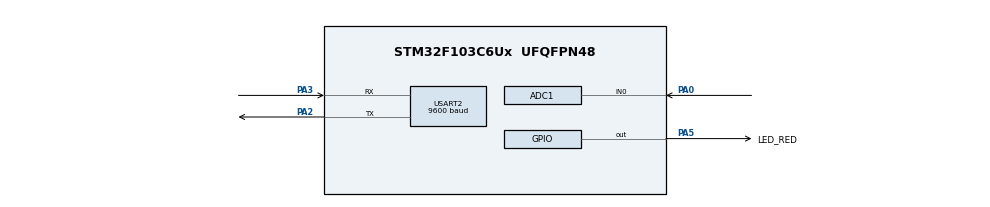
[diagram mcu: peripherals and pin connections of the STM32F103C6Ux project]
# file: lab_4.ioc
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ADC1.Channel-1\#ChannelRegularConversion=ADC_CHANNEL_0
ADC1.ContinuousConvMode=ENABLE
ADC1.NbrOfConversionFlag=1
ADC1.Rank-1\#ChannelRegularConversion=1
ADC1.SamplingTime-1\#ChannelRegularConversion=ADC_SAMPLETIME_1CYCLE_5
ADC1.master=1
Mcu.Family=STM32F1
Mcu.Name=STM32F103C6Ux
Mcu.Package=UFQFPN48
NVIC.PriorityGroup=NVIC_PRIORITYGROUP_4
NVIC.TIM2_IRQn=true\:0\:0\:false\:false\:true\:true\:true
NVIC.USART2_IRQn=true\:0\:0\:false\:false\:true\:true\:true
PA0-WKUP.Signal=ADCx_IN0
PA2.Mode=Asynchronous
PA2.Signal=USART2_TX
PA3.Mode=Asynchronous
PA3.Signal=USART2_RX
PA5.GPIO_Label=LED_RED
PA5.Signal=GPIO_Output
ProjectManager.HeapSize=0x200
ProjectManager.StackSize=0x400
ProjectManager.TargetToolchain=STM32CubeIDE
RCC.APB1Freq_Value=8000000
RCC.APB2Freq_Value=8000000
SH.ADCx_IN0.0=ADC1_IN0,IN0
TIM2.Period=9
TIM2.Prescaler=7999
USART2.BaudRate=9600
USART2.VirtualMode=VM_ASYNC
VP_SYS_VS_ND.Mode=No_Debug
VP_TIM2_VS_ClockSourceINT.Mode=Internal
board=custom

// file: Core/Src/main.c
/* USER CODE BEGIN Header */
/**
  ******************************************************************************
  * @file           : main.c
  * @brief          : Main program body
  ******************************************************************************
  * @attention
  *
  * <h2><center>&copy; Copyright (c) 2023 STMicroelectronics.
  * All rights reserved.</center></h2>
  *
  * This software component is licensed by ST under BSD 3-Clause license,
  * the "License"; You may not use this file except in compliance with the
  * License. You may obtain a copy of the License at:
  *                        opensource.org/licenses/BSD-3-Clause
  *
  ******************************************************************************
  */
/* USER CODE END Header */
#include "main.h"

/* USER CODE BEGIN Includes */
#include "timer.h"
#include "string.h"
#include "stdio.h"
/* USER CODE END Includes */

/* USER CODE BEGIN PD */
#define MAX_BUFFER_SIZE 30
#define IDLE 0
#define RECEIVING 1
#define SENDING 2
/* USER CODE END PD */

ADC_HandleTypeDef hadc1;

TIM_HandleTypeDef htim2;

UART_HandleTypeDef huart2;

void SystemClock_Config(void);
static void MX_GPIO_Init(void);
static void MX_USART2_UART_Init(void);
static void MX_ADC1_Init(void);
static void MX_TIM2_Init(void);

/* USER CODE BEGIN 0 */
uint8_t temp = 0;
uint8_t buffer[MAX_BUFFER_SIZE];
uint8_t index_buffer = 0;
uint8_t buffer_flag = 0;

void HAL_UART_RxCpltCallback(UART_HandleTypeDef *huart) {
	if (huart->Instance == USART2) {
//		HAL_UART_Transmit(&huart2, &temp, 1, 50);
		buffer[index_buffer++] = temp;
		if (index_buffer == 30) index_buffer = 0;
		buffer_flag = 1;
		HAL_UART_Receive_IT(&huart2, &temp, 1);
	}
}

int cmd_parser_state = IDLE;
int cmd_flag = 0;
char cmd_data[30];

void clear_buffer() {
	memset(buffer, 0, MAX_BUFFER_SIZE);
	index_buffer = 0;
}

void clear_cmd_data() {
	memset(cmd_data, 0, MAX_BUFFER_SIZE);
	cmd_flag = 0;
}

void cmd_parser_fsm() {
	switch (cmd_parser_state) {
		case IDLE:
			if (temp == '!') {
				clear_cmd_data();
				cmd_parser_state = RECEIVING;
			}
			clear_buffer();
			break;
		case RECEIVING:
			if (temp == '#') {
				memcpy(cmd_data, buffer, sizeof(buffer));
				cmd_flag = 1;
				HAL_UART_Transmit(&huart2, "\n\r", 2, 50);
				clear_buffer();
				cmd_parser_state = IDLE;
			}
			break;
	}
}

uint32_t ADC_value = 0;
int uart_communication_fsm_state = IDLE;
void uart_communication_fsm() {
	switch (uart_communication_fsm_state) {
		case IDLE:
			if ((cmd_flag == 1) && (strcmp(cmd_data, "RST#") == 0)) {
				HAL_UART_Transmit(&huart2, "!ADC=", 5, 50);
				HAL_ADC_Start(&hadc1);
				ADC_value = HAL_ADC_GetValue(&hadc1);
				char* str;
				HAL_UART_Transmit(&huart2, (void*) str, sprintf(str, "%d#\n\r", ADC_value), 50);
				setTimer1(3000);
				uart_communication_fsm_state = SENDING;
			}
			cmd_flag = 0;
			break;
		case SENDING:
			if ((cmd_flag == 1) && (strcmp(cmd_data, "OK#") == 0)) {
				uart_communication_fsm_state = IDLE;
			}
			cmd_flag = 0;
			if (timer1_flag == 1) {
				HAL_UART_Transmit(&huart2, "!ADC=", 5, 50);
				HAL_ADC_Start(&hadc1);
				ADC_value = HAL_ADC_GetValue(&hadc1);
				char* str;
				HAL_UART_Transmit(&huart2, (void*) str, sprintf(str, "%d#\n\r", ADC_value), 50);
				setTimer1(3000);
			}
			break;
	}
}
/* USER CODE END 0 */

int main(void)
{

  /* MCU Configuration--------------------------------------------------------*/

  /* Reset of all peripherals, Initializes the Flash interface and the Systick. */
  HAL_Init();

  /* Configure the system clock */
  SystemClock_Config();

  /* Initialize all configured peripherals */
  MX_GPIO_Init();
  MX_USART2_UART_Init();
  MX_ADC1_Init();
  MX_TIM2_Init();
  /* USER CODE BEGIN 2 */
  HAL_TIM_Base_Start_IT(&htim2);
  /* USER CODE END 2 */

  /* Infinite loop */
  /* USER CODE BEGIN WHILE */
  HAL_UART_Receive_IT(&huart2, &temp, 1);
  setTimer0(500);
  while (1)
  {
	  if (buffer_flag == 1) {
		  cmd_parser_fsm();
		  buffer_flag = 0;
	  }
	  uart_communication_fsm();

	  if (timer0_flag == 1) {
		  HAL_GPIO_TogglePin(LED_RED_GPIO_Port, LED_RED_Pin);
		  setTimer0(500);
	  }

    /* USER CODE END WHILE */

  }
}

void SystemClock_Config(void)
{
  RCC_OscInitTypeDef RCC_OscInitStruct = {0};
  RCC_ClkInitTypeDef RCC_ClkInitStruct = {0};
  RCC_PeriphCLKInitTypeDef PeriphClkInit = {0};

  /** Initializes the RCC Oscillators according to the specified parameters
  * in the RCC_OscInitTypeDef structure.
  */
  RCC_OscInitStruct.OscillatorType = RCC_OSCILLATORTYPE_HSI;
  RCC_OscInitStruct.HSIState = RCC_HSI_ON;
  RCC_OscInitStruct.HSICalibrationValue = RCC_HSICALIBRATION_DEFAULT;
  RCC_OscInitStruct.PLL.PLLState = RCC_PLL_NONE;
  if (HAL_RCC_OscConfig(&RCC_OscInitStruct) != HAL_OK)
  {
    Error_Handler();
  }
  /** Initializes the CPU, AHB and APB buses clocks
  */
  RCC_ClkInitStruct.ClockType = RCC_CLOCKTYPE_HCLK|RCC_CLOCKTYPE_SYSCLK
                              |RCC_CLOCKTYPE_PCLK1|RCC_CLOCKTYPE_PCLK2;
  RCC_ClkInitStruct.SYSCLKSource = RCC_SYSCLKSOURCE_HSI;
  RCC_ClkInitStruct.AHBCLKDivider = RCC_SYSCLK_DIV1;
  RCC_ClkInitStruct.APB1CLKDivider = RCC_HCLK_DIV1;
  RCC_ClkInitStruct.APB2CLKDivider = RCC_HCLK_DIV1;

  if (HAL_RCC_ClockConfig(&RCC_ClkInitStruct, FLASH_LATENCY_0) != HAL_OK)
  {
    Error_Handler();
  }
  PeriphClkInit.PeriphClockSelection = RCC_PERIPHCLK_ADC;
  PeriphClkInit.AdcClockSelection = RCC_ADCPCLK2_DIV2;
  if (HAL_RCCEx_PeriphCLKConfig(&PeriphClkInit) != HAL_OK)
  {
    Error_Handler();
  }
}

static void MX_ADC1_Init(void)
{

  ADC_ChannelConfTypeDef sConfig = {0};

  /** Common config
  */
  hadc1.Instance = ADC1;
  hadc1.Init.ScanConvMode = ADC_SCAN_DISABLE;
  hadc1.Init.ContinuousConvMode = ENABLE;
  hadc1.Init.DiscontinuousConvMode = DISABLE;
  hadc1.Init.ExternalTrigConv = ADC_SOFTWARE_START;
  hadc1.Init.DataAlign = ADC_DATAALIGN_RIGHT;
  hadc1.Init.NbrOfConversion = 1;
  if (HAL_ADC_Init(&hadc1) != HAL_OK)
  {
    Error_Handler();
  }
  /** Configure Regular Channel
  */
  sConfig.Channel = ADC_CHANNEL_0;
  sConfig.Rank = ADC_REGULAR_RANK_1;
  sConfig.SamplingTime = ADC_SAMPLETIME_1CYCLE_5;
  if (HAL_ADC_ConfigChannel(&hadc1, &sConfig) != HAL_OK)
  {
    Error_Handler();
  }

}

static void MX_TIM2_Init(void)
{

  TIM_ClockConfigTypeDef sClockSourceConfig = {0};
  TIM_MasterConfigTypeDef sMasterConfig = {0};

  htim2.Instance = TIM2;
  htim2.Init.Prescaler = 7999;
  htim2.Init.CounterMode = TIM_COUNTERMODE_UP;
  htim2.Init.Period = 9;
  htim2.Init.ClockDivision = TIM_CLOCKDIVISION_DIV1;
  htim2.Init.AutoReloadPreload = TIM_AUTORELOAD_PRELOAD_DISABLE;
  if (HAL_TIM_Base_Init(&htim2) != HAL_OK)
  {
    Error_Handler();
  }
  sClockSourceConfig.ClockSource = TIM_CLOCKSOURCE_INTERNAL;
  if (HAL_TIM_ConfigClockSource(&htim2, &sClockSourceConfig) != HAL_OK)
  {
    Error_Handler();
  }
  sMasterConfig.MasterOutputTrigger = TIM_TRGO_RESET;
  sMasterConfig.MasterSlaveMode = TIM_MASTERSLAVEMODE_DISABLE;
  if (HAL_TIMEx_MasterConfigSynchronization(&htim2, &sMasterConfig) != HAL_OK)
  {
    Error_Handler();
  }

}

static void MX_USART2_UART_Init(void)
{

  huart2.Instance = USART2;
  huart2.Init.BaudRate = 9600;
  huart2.Init.WordLength = UART_WORDLENGTH_8B;
  huart2.Init.StopBits = UART_STOPBITS_1;
  huart2.Init.Parity = UART_PARITY_NONE;
  huart2.Init.Mode = UART_MODE_TX_RX;
  huart2.Init.HwFlowCtl = UART_HWCONTROL_NONE;
  huart2.Init.OverSampling = UART_OVERSAMPLING_16;
  if (HAL_UART_Init(&huart2) != HAL_OK)
  {
    Error_Handler();
  }

}

static void MX_GPIO_Init(void)
{
  GPIO_InitTypeDef GPIO_InitStruct = {0};

  /* GPIO Ports Clock Enable */
  __HAL_RCC_GPIOA_CLK_ENABLE();

  /*Configure GPIO pin Output Level */
  HAL_GPIO_WritePin(LED_RED_GPIO_Port, LED_RED_Pin, GPIO_PIN_RESET);

  /*Configure GPIO pin : LED_RED_Pin */
  GPIO_InitStruct.Pin = LED_RED_Pin;
  GPIO_InitStruct.Mode = GPIO_MODE_OUTPUT_PP;
  GPIO_InitStruct.Pull = GPIO_NOPULL;
  GPIO_InitStruct.Speed = GPIO_SPEED_FREQ_LOW;
  HAL_GPIO_Init(LED_RED_GPIO_Port, &GPIO_InitStruct);

}

/* USER CODE BEGIN 4 */
void HAL_TIM_PeriodElapsedCallback(TIM_HandleTypeDef *htim2) {
	timer_run();
}
/* USER CODE END 4 */

void Error_Handler(void)
{
  __disable_irq();
  while (1)
  {
  }
}

/************************ (C) COPYRIGHT STMicroelectronics *****END OF FILE****/
